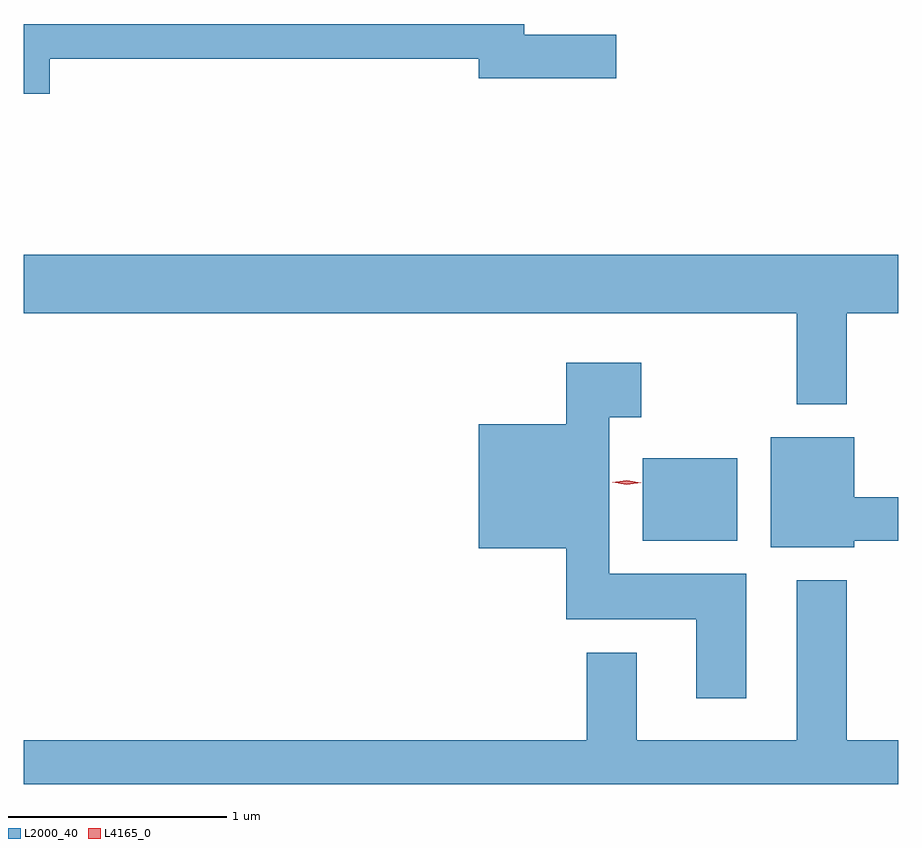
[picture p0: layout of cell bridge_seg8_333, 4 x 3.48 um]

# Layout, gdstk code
import gdstk
lib = gdstk.Library(unit=1e-6, precision=1e-09)
def R(c, l, rs):  # rectangles x0, y0, x1, y1
    for r in rs: c.add(gdstk.rectangle(r[:2], r[2:], *l))
def P(c, l, *ps):  # polygons
    for p in ps: c.add(gdstk.Polygon(p, *l))
L2000_40 = (2000, 40)
L4165_0 = (4165, 0)

bridge_seg8_333 = lib.new_cell('bridge_seg8_333')
R(bridge_seg8_333, L2000_40, [(929.006,1941.936,929.439,1942.314)])
P(bridge_seg8_333, L2000_40, [(926.294,1944.141),(928.256,1944.141),(928.256,1944.051),(928.884,1944.051),(928.884,1944.249),(928.464,1944.249),(928.464,1944.299),(926.175,1944.299),(926.175,1943.981),(926.294,1943.981)],
  [(929.939,1942.976),(930.175,1942.976),(930.175,1943.244),(926.175,1943.244),(926.175,1942.976),(929.711,1942.976),(929.711,1942.561),(929.939,1942.561)],
  [(929.479,1941.784),(928.854,1941.784),(928.854,1942.501),(928.999,1942.501),(928.999,1942.749),(928.656,1942.749),(928.656,1942.469),(928.256,1942.469),(928.256,1941.901),(928.656,1941.901),(928.656,1941.576),(929.251,1941.576),(929.251,1941.216),(929.479,1941.216)],
  [(929.974,1941.936),(930.175,1941.936),(930.175,1942.134),(929.974,1942.134),(929.974,1942.409),(929.591,1942.409),(929.591,1941.906),(929.974,1941.906)],
  [(930.175,1941.024),(929.939,1941.024),(929.939,1941.754),(929.711,1941.754),(929.711,1941.024),(928.979,1941.024),(928.979,1941.424),(928.751,1941.424),(928.751,1941.024),(926.175,1941.024),(926.175,1940.823),(930.175,1940.823)])
P(bridge_seg8_333, L4165_0, [(928.932,1942.192),(928.866,1942.202),(928.866,1942.203),(928.866,1942.203),(928.933,1942.212),(928.999,1942.201),(928.999,1942.2),(928.999,1942.2)])

lib.write_gds('bridge_seg8_333.gds')
